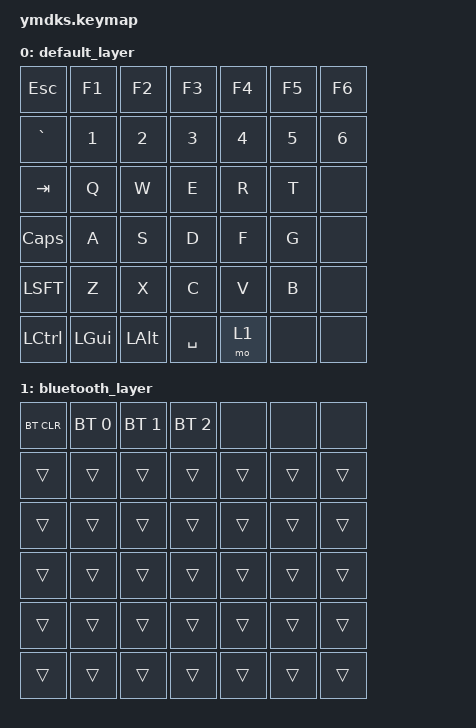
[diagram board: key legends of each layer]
#include <behaviors.dtsi>
#include <dt-bindings/zmk/keys.h>
#include <dt-bindings/zmk/bt.h>

/ {
	keymap {
        compatible = "zmk,keymap";

        default_layer {
            bindings = <
                &kp ESC   &kp F1   &kp F2   &kp F3    &kp F4 &kp F5  &kp F6
                &kp GRAVE &kp N1   &kp N2   &kp N3    &kp N4 &kp N5  &kp N6
                &kp TAB   &kp Q    &kp W    &kp E     &kp R  &kp T   &none
                &kp CAPS  &kp A    &kp S    &kp D     &kp F  &kp G   &none
                &kp LSFT  &kp Z    &kp X    &kp C     &kp V  &kp B   &none
                &kp LCTL  &kp LGUI &kp LALT &kp SPACE &mo 1  &none   &none
            >;
	};

	bluetooth_layer {
            bindings = <
                &bt BT_CLR  &bt BT_SEL 0 &bt BT_SEL 1 &bt BT_SEL 2 &none    &none       &none
                &trans      &trans      &trans      &trans      &trans      &trans      &trans
                &trans      &trans      &trans      &trans      &trans      &trans      &trans
                &trans      &trans      &trans      &trans      &trans      &trans      &trans
                &trans      &trans      &trans      &trans      &trans      &trans      &trans
                &trans      &trans      &trans      &trans      &trans      &trans      &trans
            >;
        };
    };
};

